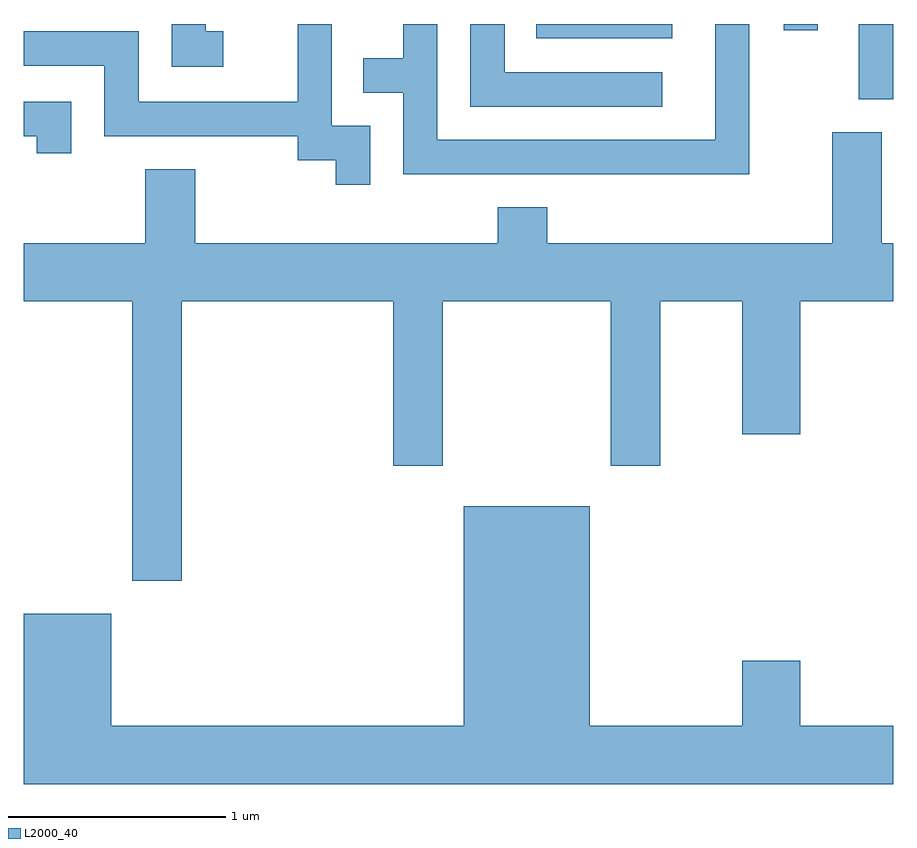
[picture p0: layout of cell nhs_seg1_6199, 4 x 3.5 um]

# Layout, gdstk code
import gdstk
lib = gdstk.Library(unit=1e-6, precision=1e-09)
def R(c, l, rs):  # rectangles x0, y0, x1, y1
    for r in rs: c.add(gdstk.rectangle(r[:2], r[2:], *l))
def P(c, l, *ps):  # polygons
    for p in ps: c.add(gdstk.Polygon(p, *l))
L2000_40 = (2000, 40)

nhs_seg1_6199 = lib.new_cell('nhs_seg1_6199')
R(nhs_seg1_6199, L2000_40, [(375.451,929.366,375.611,929.712), (373.968,929.646,374.594,929.712), (375.106,929.683,375.264,929.712)])
P(nhs_seg1_6199, L2000_40, [(374.949,929.712),(374.791,929.712),(374.791,929.179),(373.514,929.179),(373.514,929.712),(373.356,929.712),(373.356,929.554),(373.173,929.554),(373.173,929.396),(373.356,929.396),(373.356,929.021),(374.949,929.021)],
  [(374.548,929.489),(373.824,929.489),(373.824,929.712),(373.666,929.712),(373.666,929.331),(374.548,929.331)],
  [(373.204,929.244),(373.029,929.244),(373.029,929.712),(372.871,929.712),(372.871,929.354),(372.139,929.354),(372.139,929.679),(371.611,929.679),(371.611,929.521),(371.981,929.521),(371.981,929.196),(372.871,929.196),(372.871,929.086),(373.046,929.086),(373.046,928.973),(373.204,928.973)],
  [(372.528,929.679),(372.449,929.679),(372.449,929.712),(372.291,929.712),(372.291,929.516),(372.528,929.516)],
  [(371.829,929.354),(371.611,929.354),(371.611,929.196),(371.671,929.196),(371.671,929.118),(371.829,929.118)],
  [(372.339,928.436),(373.311,928.436),(373.311,927.681),(373.539,927.681),(373.539,928.436),(374.311,928.436),(374.311,927.681),(374.539,927.681),(374.539,928.436),(374.916,928.436),(374.916,927.826),(375.184,927.826),(375.184,928.436),(375.611,928.436),(375.611,928.704),(375.559,928.704),(375.559,929.214),(375.331,929.214),(375.331,928.704),(374.019,928.704),(374.019,928.869),(373.791,928.869),(373.791,928.704),(372.399,928.704),(372.399,929.044),(372.171,929.044),(372.171,928.704),(371.611,928.704),(371.611,928.436),(372.111,928.436),(372.111,927.151),(372.339,927.151)],
  [(375.611,926.484),(375.184,926.484),(375.184,926.784),(374.916,926.784),(374.916,926.484),(374.214,926.484),(374.214,927.494),(373.636,927.494),(373.636,926.484),(372.014,926.484),(372.014,926.999),(371.611,926.999),(371.611,926.216),(375.611,926.216)])

lib.write_gds('nhs_seg1_6199.gds')
